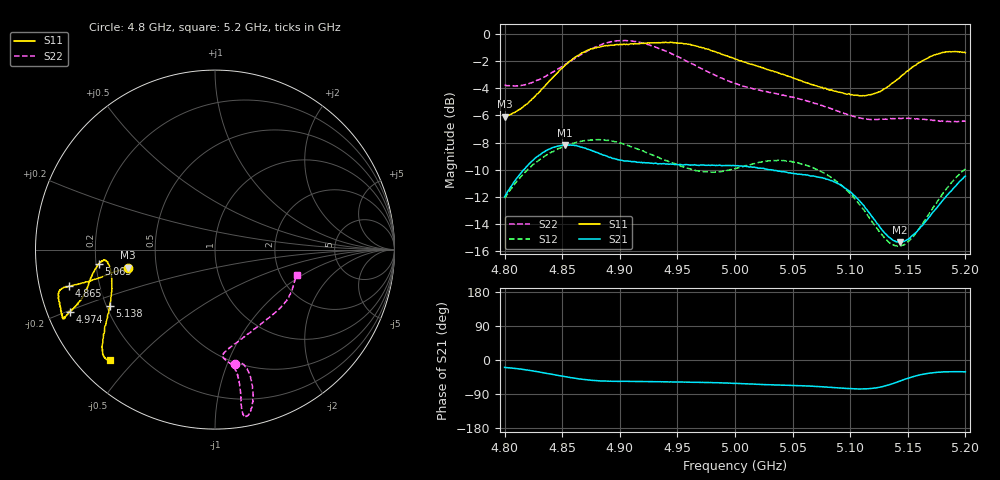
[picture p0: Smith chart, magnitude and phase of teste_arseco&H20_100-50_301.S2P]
! Network Analyzer HP8722D
! Hewlett-Packard
! Data name: Linha & Wilkinson
! Saver's name: Rodrigo Anjos
! Comments: Teste da utilização de aquisição
! continua pelo VNA HP8722D
! Time and date: 6/5/2025 15:04
!  Frequency  S11  S21  S12  S22
# HZ  S  MA R 50
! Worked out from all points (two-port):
!   401 points, 4.8 GHz to 5.2 GHz, reference 50 ohm
!   highest |S21| = -8.17 dB at 4.852 GHz (marker M1); lowest = -15.3 dB at 5.143 GHz (marker M2)
!   |S21| within 3 dB of the highest: 4.806 GHz to 5.093 GHz (286.6 MHz wide, 5.79 % of centre); 5.191909 GHz to end of sweep
!   lowest |S11| = -6.1 dB at 4.8 GHz (marker M3), VSWR 2.97, Z = 17 - j4.57 ohm
!   |S11| at or under -10 dB: nowhere
!   |S22| runs from -6.5 to -0.5 dB; largest |S21 - S12| = 0.62
!   S11 on the Smith chart (normalised r, x): 4.8 GHz: 0.34, -0.09; 4.865 GHz: 0.09, -0.12; 4.974 GHz: 0.07, -0.20; 5.065 GHz: 0.21, -0.06; 5.138 GHz: 0.21, -0.24; 5.2 GHz: 0.09, -0.43
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4.8e9  0.4963 -168.2  0.2517 -19.5  0.2486 -140.9  0.6485 -80.3
4.824e9  0.577 -167.5  0.3413 -28.7  0.3286 -144.0  0.6628 -75.8
4.852e9  0.7628 -165.9  0.3906 -43.9  0.3865 -149.3  0.7688 -74.4
4.865e9  0.839 -165.9  0.3855 -49.8  0.4011 -151.7  0.8331 -75.2
4.867e9  0.8511 -165.8  0.3835 -50.8  0.4035 -152.0  0.8432 -75.4
4.9e9  0.9144 -162.6  0.3434 -56.5  0.3963 -156.5  0.9443 -79.1
4.934e9  0.9286 -156.3  0.3327 -57.5  0.351 -155.7  0.8831 -80.4
4.953e9  0.9236 -155.5  0.3309 -58.1  0.3255 -152.0  0.8149 -79.8
4.974e9  0.882 -156.8  0.3286 -59.3  0.3112 -145.5  0.7338 -79.7
5e9  0.8079 -159.0  0.3274 -61.7  0.3195 -137.2  0.6572 -81.3
5.036e9  0.7233 -165.6  0.3142 -65.9  0.3417 -134.4  0.6029 -85.7
5.065e9  0.654 -172.9  0.3006 -68.9  0.3252 -136.6  0.5629 -83.2
5.067e9  0.6508 -172.9  0.3 -69.1  0.3232 -136.8  0.5585 -82.7
5.083e9  0.6216 -174.5  0.2887 -72.2  0.2976 -138.2  0.5317 -76.9
5.101e9  0.5977 -172.0  0.2608 -75.7  0.2555 -138.8  0.5008 -66.6
5.116e9  0.5966 -165.6  0.2208 -75.9  0.2127 -135.5  0.485 -55.7
5.134e9  0.645 -154.2  0.1784 -65.2  0.1707 -120.8  0.4862 -43.2
5.138e9  0.6661 -151.8  0.1735 -61.3  0.167 -115.7  0.4875 -40.8
5.143e9  0.6898 -149.2  0.1709 -55.9  0.1659 -109.0  0.4886 -38.0
5.154e9  0.7559 -144.5  0.1814 -44.4  0.1791 -95.1  0.4883 -32.4
5.172e9  0.8338 -139.0  0.2214 -33.6  0.2298 -81.1  0.4804 -24.6
5.2e9  0.8517 -133.6  0.3 -31.3  0.3185 -76.9  0.4777 -17.5
